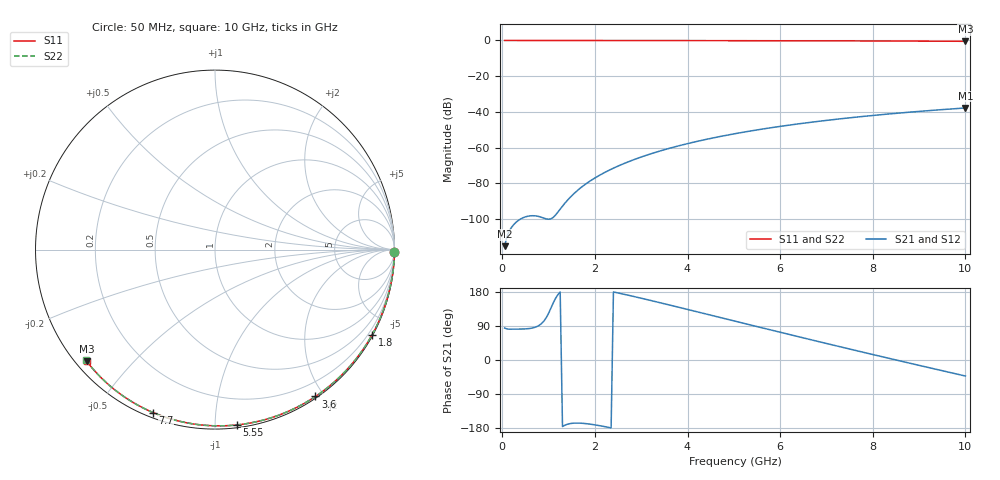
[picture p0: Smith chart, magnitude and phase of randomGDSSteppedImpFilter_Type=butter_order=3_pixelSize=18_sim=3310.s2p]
! freq	dB(S11)	phase(S11)	dB(S12)	phase(S12)
!  dB(S21)	phase(S21)	dB(S22)	phase(S22)
!S-par simulation data
#  GHz  S  DB  R 50
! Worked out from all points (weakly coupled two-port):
!   200 points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, 50 MHz to 10 GHz, reference 50 ohm
!   highest |S21| = -37.83 dB at 10 GHz (marker M1); lowest = -115.3 dB at 50 MHz (marker M2)
!   lowest |S11| = -0.5 dB at 10 GHz (marker M3), VSWR 37.14, Z = 1.53 - j18.6 ohm
!   |S11| at or under -10 dB: nowhere
!   |S22| runs from -0.5 to 0.0 dB; largest |S21 - S12| = 0
!   S11 on the Smith chart (normalised r, x): 50 MHz: open; 1.8 GHz: 0.03, -3.94; 3.6 GHz: 0.02, -1.89; 5.55 GHz: 0.02, -1.13; 7.7 GHz: 0.02, -0.69; 10 GHz: 0.03, -0.37
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0.05  -0.00 -0.8  -115.29 84.4  -115.29 84.4  -0.00 -0.8
0.45  -0.01 -7.2  -99.35 81.8  -99.35 81.8  -0.01 -7.3
0.9  -0.02 -14.4  -99.59 103.0  -99.59 103.0  -0.02 -14.4
1.75  -0.04 -27.7  -81.43 -167.2  -81.43 -167.2  -0.04 -27.8
1.8  -0.04 -28.5  -80.47 -167.8  -80.47 -167.8  -0.04 -28.6
1.85  -0.04 -29.3  -79.57 -168.5  -79.57 -168.5  -0.04 -29.4
2.05  -0.04 -32.4  -76.29 -172.2  -76.29 -172.2  -0.04 -32.5
2.25  -0.05 -35.4  -73.46 -176.7  -73.46 -176.7  -0.05 -35.6
2.55  -0.05 -40.0  -69.82 175.6  -69.82 175.6  -0.05 -40.2
2.95  -0.06 -46.0  -65.77 164.5  -65.77 164.5  -0.06 -46.2
3.4  -0.07 -52.7  -61.99 151.4  -61.99 151.4  -0.07 -52.9
3.6  -0.07 -55.6  -60.50 145.4  -60.50 145.4  -0.08 -55.9
3.9  -0.08 -60.0  -58.45 136.5  -58.45 136.5  -0.08 -60.2
4.3  -0.09 -65.7  -56.02 124.4  -56.02 124.4  -0.09 -66.0
5.05  -0.12 -76.2  -52.13 101.8  -52.13 101.8  -0.12 -76.5
5.55  -0.14 -83.0  -49.93 86.7  -49.93 86.7  -0.14 -83.3
6.1  -0.16 -90.3  -47.79 70.2  -47.79 70.2  -0.16 -90.7
6.7  -0.19 -98.2  -45.73 52.4  -45.73 52.4  -0.19 -98.5
7.7  -0.25 -110.8  -42.81 23.1  -42.81 23.1  -0.25 -111.2
8.35  -0.30 -118.9  -41.19 4.4  -41.19 4.4  -0.31 -119.3
9.2  -0.38 -129.3  -39.34 -19.8  -39.34 -19.8  -0.38 -129.7
10  -0.47 -139.1  -37.83 -42.3  -37.83 -42.3  -0.47 -139.4
